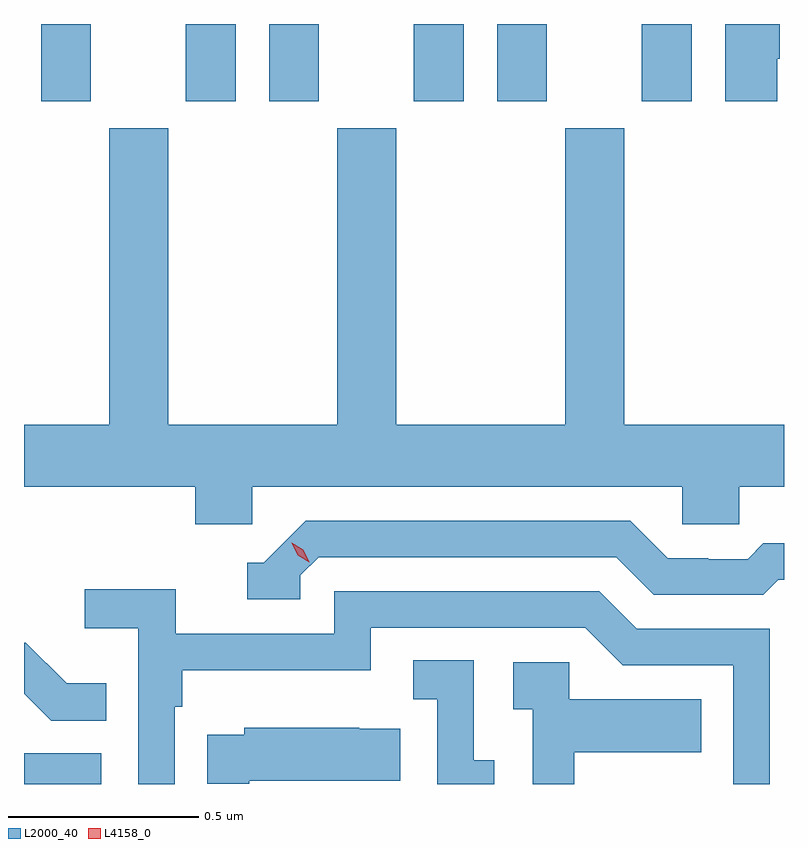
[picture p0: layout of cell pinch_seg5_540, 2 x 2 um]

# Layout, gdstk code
import gdstk
lib = gdstk.Library(unit=1e-6, precision=1e-09)
def R(c, l, rs):  # rectangles x0, y0, x1, y1
    for r in rs: c.add(gdstk.rectangle(r[:2], r[2:], *l))
def P(c, l, *ps):  # polygons
    for p in ps: c.add(gdstk.Polygon(p, *l))
L2000_40 = (2000, 40)
L4158_0 = (4158, 0)

pinch_seg5_540 = lib.new_cell('pinch_seg5_540')
R(pinch_seg5_540, L2000_40, [(957.395,838.662,957.598,838.743), (957.44,840.459,957.571,840.662), (957.821,840.459,957.952,840.662), (958.04,840.459,958.171,840.662), (958.421,840.459,958.552,840.662), (958.64,840.459,958.771,840.662), (959.021,840.459,959.152,840.662)])
P(pinch_seg5_540, L2000_40, [(959.377,840.571),(959.384,840.571),(959.384,840.662),(959.24,840.662),(959.24,840.459),(959.377,840.459)],
  [(957.996,839.444),(959.127,839.444),(959.127,839.346),(959.277,839.346),(959.277,839.444),(959.395,839.444),(959.395,839.608),(958.974,839.608),(958.974,840.388),(958.819,840.388),(958.819,839.608),(958.374,839.608),(958.374,840.388),(958.219,840.388),(958.219,839.608),(957.774,839.608),(957.774,840.388),(957.619,840.388),(957.619,839.608),(957.395,839.608),(957.395,839.444),(957.845,839.444),(957.845,839.346),(957.996,839.346)],
  [(958.122,839.211),(958.17,839.259),(958.953,839.259),(959.052,839.16),(959.341,839.16),(959.38,839.199),(959.395,839.199),(959.395,839.296),(959.341,839.296),(959.299,839.253),(959.196,839.253),(959.196,839.256),(959.089,839.256),(958.99,839.355),(958.137,839.355),(958.026,839.244),(957.983,839.244),(957.983,839.148),(958.122,839.148)],
  [(957.792,838.865),(957.812,838.865),(957.812,838.961),(958.308,838.961),(958.308,839.073),(958.872,839.073),(958.971,838.974),(959.262,838.974),(959.262,838.662),(959.358,838.662),(959.358,839.07),(959.008,839.07),(958.909,839.169),(958.212,839.169),(958.212,839.058),(957.794,839.058),(957.794,839.174),(957.555,839.174),(957.555,839.072),(957.696,839.072),(957.696,838.662),(957.792,838.662)],
  [(957.611,838.927),(957.507,838.927),(957.4,839.034),(957.395,839.034),(957.395,838.9),(957.467,838.828),(957.611,838.828)],
  [(958.633,838.725),(958.578,838.725),(958.578,838.988),(958.419,838.988),(958.419,838.885),(958.482,838.885),(958.482,838.662),(958.633,838.662)],
  [(958.843,838.745),(959.177,838.745),(959.177,838.885),(958.83,838.885),(958.83,838.983),(958.683,838.983),(958.683,838.859),(958.734,838.859),(958.734,838.662),(958.843,838.662)],
  [(957.988,838.67),(958.385,838.67),(958.385,838.807),(958.277,838.807),(958.277,838.81),(957.975,838.81),(957.975,838.792),(957.877,838.792),(957.877,838.663),(957.988,838.663)])
P(pinch_seg5_540, L4158_0, [(958.146,839.245),(958.115,839.264),(958.099,839.297),(958.099,839.297),(958.099,839.297),(958.13,839.278),(958.146,839.245),(958.146,839.245)])

lib.write_gds('pinch_seg5_540.gds')
